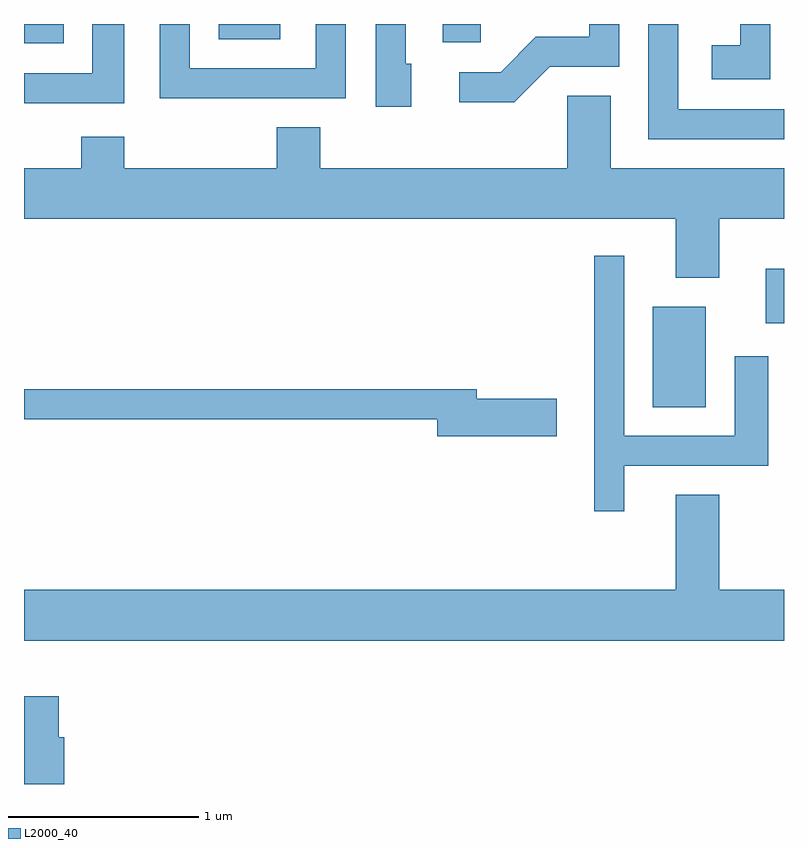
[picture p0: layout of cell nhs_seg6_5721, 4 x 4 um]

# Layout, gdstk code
import gdstk
lib = gdstk.Library(unit=1e-6, precision=1e-09)
def R(c, l, rs):  # rectangles x0, y0, x1, y1
    for r in rs: c.add(gdstk.rectangle(r[:2], r[2:], *l))
def P(c, l, *ps):  # polygons
    for p in ps: c.add(gdstk.Polygon(p, *l))
L2000_40 = (2000, 40)

nhs_seg6_5721 = lib.new_cell('nhs_seg6_5721')
R(nhs_seg6_5721, L2000_40, [(362.921,1560.146,363.199,1560.674), (363.516,1560.586,363.611,1560.874), (359.611,1562.061,359.819,1562.162), (361.816,1562.066,362.014,1562.162), (360.636,1562.081,360.959,1562.162)])
P(nhs_seg6_5721, L2000_40, [(363.539,1562.162),(363.381,1562.162),(363.381,1562.049),(363.231,1562.049),(363.231,1561.871),(363.539,1561.871)],
  [(362.377,1561.936),(362.744,1561.936),(362.744,1562.162),(362.586,1562.162),(362.586,1562.094),(362.304,1562.094),(362.119,1561.909),(361.903,1561.909),(361.903,1561.751),(362.192,1561.751)],
  [(361.649,1561.954),(361.619,1561.954),(361.619,1562.162),(361.461,1562.162),(361.461,1561.726),(361.649,1561.726)],
  [(363.611,1561.714),(363.054,1561.714),(363.054,1562.162),(362.896,1562.162),(362.896,1561.556),(363.611,1561.556)],
  [(360.139,1562.162),(359.971,1562.162),(359.971,1561.904),(359.611,1561.904),(359.611,1561.746),(360.139,1561.746)],
  [(361.304,1562.162),(361.146,1562.162),(361.146,1561.929),(360.484,1561.929),(360.484,1562.162),(360.326,1562.162),(360.326,1561.771),(361.304,1561.771)],
  [(363.041,1560.826),(363.269,1560.826),(363.269,1561.136),(363.611,1561.136),(363.611,1561.404),(362.699,1561.404),(362.699,1561.784),(362.471,1561.784),(362.471,1561.404),(361.169,1561.404),(361.169,1561.619),(360.941,1561.619),(360.941,1561.404),(360.139,1561.404),(360.139,1561.569),(359.911,1561.569),(359.911,1561.404),(359.611,1561.404),(359.611,1561.136),(363.041,1561.136)],
  [(362.769,1559.836),(363.529,1559.836),(363.529,1560.414),(363.351,1560.414),(363.351,1559.994),(362.769,1559.994),(362.769,1560.943),(362.611,1560.943),(362.611,1559.598),(362.769,1559.598)],
  [(362.414,1560.189),(361.994,1560.189),(361.994,1560.239),(359.611,1560.239),(359.611,1560.081),(361.786,1560.081),(361.786,1559.991),(362.414,1559.991)],
  [(363.611,1559.184),(363.269,1559.184),(363.269,1559.684),(363.041,1559.684),(363.041,1559.184),(359.611,1559.184),(359.611,1558.916),(363.611,1558.916)],
  [(359.824,1558.409),(359.794,1558.409),(359.794,1558.624),(359.611,1558.624),(359.611,1558.162),(359.824,1558.162)])

lib.write_gds('nhs_seg6_5721.gds')
